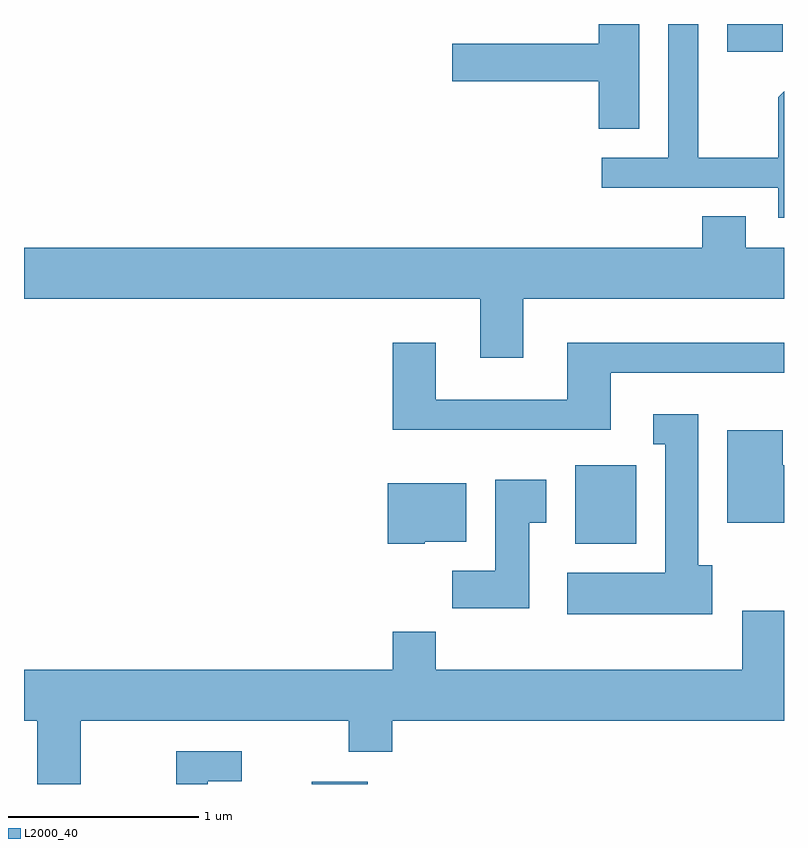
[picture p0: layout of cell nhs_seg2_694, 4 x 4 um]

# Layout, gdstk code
import gdstk
lib = gdstk.Library(unit=1e-6, precision=1e-09)
def R(c, l, rs):  # rectangles x0, y0, x1, y1
    for r in rs: c.add(gdstk.rectangle(r[:2], r[2:], *l))
def P(c, l, *ps):  # polygons
    for p in ps: c.add(gdstk.Polygon(p, *l))
L2000_40 = (2000, 40)

nhs_seg2_694 = lib.new_cell('nhs_seg2_694')
R(nhs_seg2_694, L2000_40, [(207.126,1005.802,207.419,1005.814), (208.511,1007.066,208.834,1007.479), (209.311,1009.656,209.604,1009.802)])
P(nhs_seg2_694, L2000_40, [(209.611,1009.447),(209.581,1009.417),(209.581,1009.099),(209.159,1009.099),(209.159,1009.802),(209.001,1009.802),(209.001,1009.099),(208.653,1009.099),(208.653,1008.941),(209.581,1008.941),(209.581,1008.781),(209.611,1008.781)],
  [(208.849,1009.802),(208.636,1009.802),(208.636,1009.699),(207.866,1009.699),(207.866,1009.501),(208.636,1009.501),(208.636,1009.251),(208.849,1009.251)],
  [(208.239,1008.356),(209.611,1008.356),(209.611,1008.624),(209.409,1008.624),(209.409,1008.789),(209.181,1008.789),(209.181,1008.624),(205.611,1008.624),(205.611,1008.356),(208.011,1008.356),(208.011,1008.046),(208.239,1008.046)],
  [(208.699,1007.966),(209.611,1007.966),(209.611,1008.124),(208.471,1008.124),(208.471,1007.824),(207.779,1007.824),(207.779,1008.124),(207.551,1008.124),(207.551,1007.666),(208.699,1007.666)],
  [(209.234,1006.954),(209.159,1006.954),(209.159,1007.749),(208.923,1007.749),(208.923,1007.591),(208.986,1007.591),(208.986,1006.914),(208.471,1006.914),(208.471,1006.696),(209.234,1006.696)],
  [(209.611,1007.479),(209.604,1007.479),(209.604,1007.664),(209.311,1007.664),(209.311,1007.176),(209.611,1007.176)],
  [(208.269,1007.176),(208.359,1007.176),(208.359,1007.404),(208.091,1007.404),(208.091,1006.924),(207.866,1006.924),(207.866,1006.726),(208.269,1006.726)],
  [(207.72,1007.076),(207.939,1007.076),(207.939,1007.384),(207.526,1007.384),(207.526,1007.066),(207.72,1007.066)],
  [(205.909,1006.136),(207.321,1006.136),(207.321,1005.971),(207.549,1005.971),(207.549,1006.136),(209.611,1006.136),(209.611,1006.714),(209.391,1006.714),(209.391,1006.404),(207.779,1006.404),(207.779,1006.604),(207.551,1006.604),(207.551,1006.404),(205.611,1006.404),(205.611,1006.136),(205.681,1006.136),(205.681,1005.802),(205.909,1005.802)],
  [(206.579,1005.816),(206.758,1005.816),(206.758,1005.974),(206.411,1005.974),(206.411,1005.802),(206.579,1005.802)])

lib.write_gds('nhs_seg2_694.gds')
